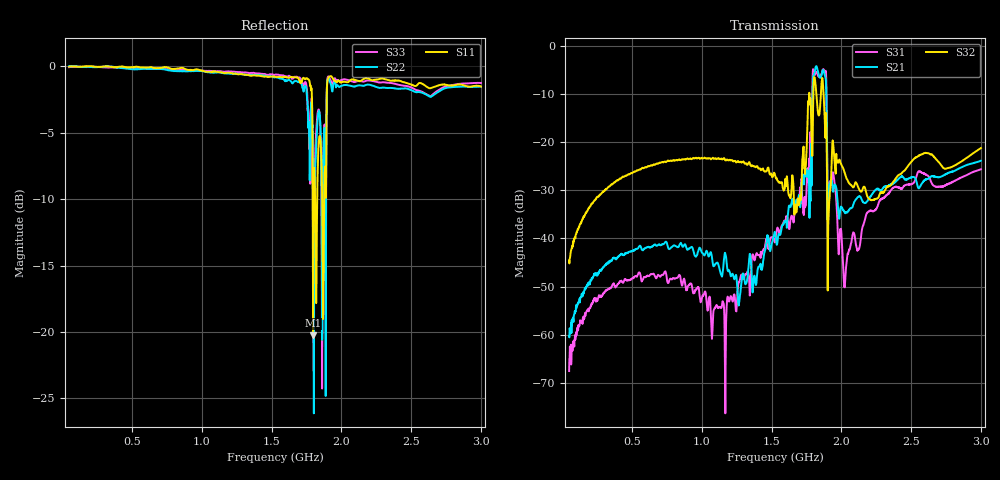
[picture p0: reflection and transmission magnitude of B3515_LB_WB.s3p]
! Matrix data file written by TouchstoneData, EPCOS AG
! FILENAME: "LQ98_LB_WB.s3p_newformat"
! COMMENT: "(LQ98_LB_WB.s3p)"
! INFO: nport=3, nfreq=1601
! DATE: "Thu Apr  2 15:29:24 2009"
! USER: "Michael Schemies"
! port | pin | signal
!  1  |  9  |  input
!  2  |  1  |  output
!  3  |  2  |  output
# MHZ S MA R 50
! freq  magS11 angS11  magS12 angS12  magS13 angS13  ...
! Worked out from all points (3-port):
!   1601 points, 50 MHz to 3 GHz, reference 50 ohm
!   strongest paths, dB at 50 MHz, 787.5 MHz, 1.525 GHz, 2.263 GHz, 3 GHz:
!     S32: -44.6, -23.9, -26.8, -31.6, -21.2
!     S21: -60.3, -41.7, -38.8, -29.6, -23.8
!     S31: -67.6, -48.5, -40.8, -33.0, -25.6
!   lowest |S11| = -20.3 dB at 1.798 GHz (marker M1), VSWR 1.21, Z = 41.7 - j3.17 ohm
!   |S11| at or under -10 dB: 1.795018 GHz to 1.80097 GHz (5.951 MHz wide, 0.331 % of centre); 1.812 GHz to 1.827 GHz (15.15 MHz wide, 0.832 % of centre); 1.863 GHz to 1.878 GHz (14.78 MHz wide, 0.79 % of centre)
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50  0.9962 -3.9  0.0009837 85.1  0.0004274 76.8
    0.0009691 85.3  1 -2.4  0.005877 86.2
    0.0004192 76.6  0.005893 86.3  0.9918 -2.5
582.8438  0.9903 -42.7  0.007688 57.9  0.003901 61.5
          0.007688 57.7  0.9776 -27.5  0.05377 61.0
          0.003885 61.2  0.05357 60.9  0.9816 -29.6
1525  0.912 -110.8  0.01157 138.2  0.00916 161.8
      0.01155 137.7  0.908 -67.3  0.04544 30.7
      0.009165 161.6  0.04555 30.9  0.9294 -71.6
1735.188  0.8972 -136.9  0.04438 150.7  0.02454 120.4
          0.04422 150.2  0.8322 -90.4  0.05351 99.2
          0.02447 120.1  0.05354 99.3  0.8626 -95.1
1797.875  0.09703 -157.1  0.4645 -173.3  0.5749 2.7
          0.4622 -173.8  0.359 -157.8  0.2282 162.5
          0.5747 2.3  0.2293 162.6  0.198 -140.7
1842.125  0.5422 -101.4  0.4862 6.8  0.4739 179.4
          0.4838 6.3  0.6746 -77.4  0.1933 -138.3
          0.4735 178.9  0.1943 -138.3  0.6752 -89.0
1879  0.354 -18.0  0.5175 -116.5  0.5502 61.6
      0.5157 -116.8  0.5859 -37.4  0.2098 -25.9
      0.5489 61.1  0.2103 -26.0  0.6012 -42.5
1912.188  0.9114 -69.2  0.03361 -148.1  0.03542 42.2
          0.03353 -148.3  0.8912 -37.8  0.0221 91.3
          0.03526 41.8  0.02205 91.1  0.9099 -45.5
2024.656  0.8738 -102.4  0.0186 159.1  0.003109 84.0
          0.01861 158.7  0.8493 -65.1  0.04809 39.2
          0.003105 83.6  0.04803 39.1  0.8922 -70.4
3000  0.8394 -152.2  0.06416 123.1  0.05249 118.7
      0.06433 122.7  0.8374 -104.3  0.08739 137.8
      0.05241 118.3  0.08702 137.7  0.8645 -109.4
